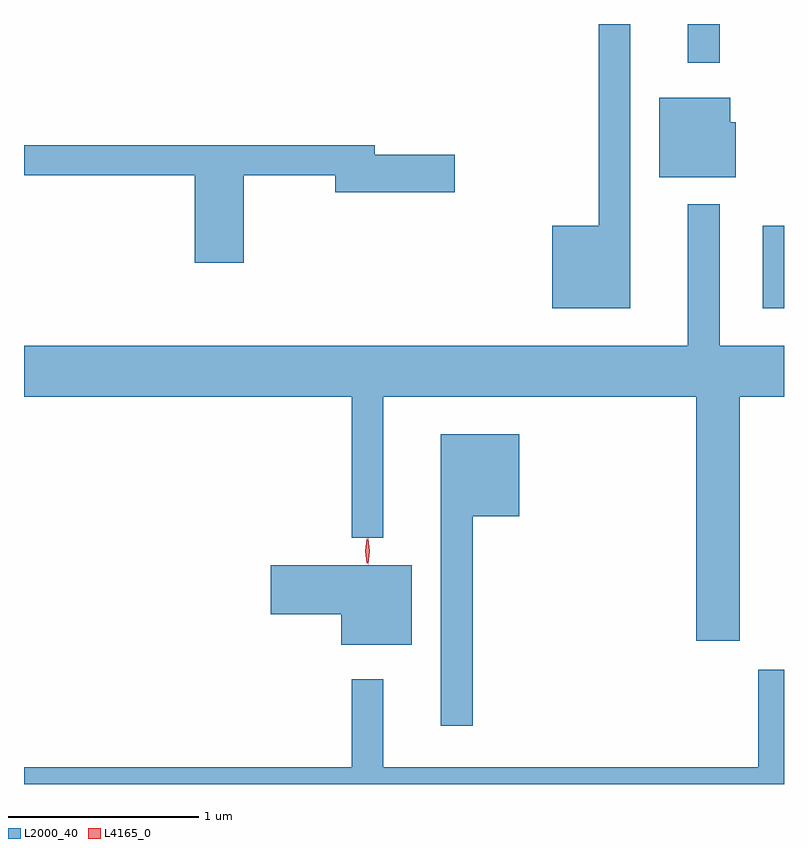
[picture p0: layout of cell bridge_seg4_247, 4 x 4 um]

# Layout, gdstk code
import gdstk
lib = gdstk.Library(unit=1e-6, precision=1e-09)
def R(c, l, rs):  # rectangles x0, y0, x1, y1
    for r in rs: c.add(gdstk.rectangle(r[:2], r[2:], *l))
def P(c, l, *ps):  # polygons
    for p in ps: c.add(gdstk.Polygon(p, *l))
L2000_40 = (2000, 40)
L4165_0 = (4165, 0)

bridge_seg4_247 = lib.new_cell('bridge_seg4_247')
R(bridge_seg4_247, L2000_40, [(728.486,1386.221,728.597,1386.654), (728.091,1387.513,728.259,1387.717)])
P(bridge_seg4_247, L2000_40, [(727.789,1387.717),(727.621,1387.717),(727.621,1386.654),(727.376,1386.654),(727.376,1386.221),(727.789,1386.221)],
  [(728.344,1387.199),(728.314,1387.199),(728.314,1387.329),(727.941,1387.329),(727.941,1386.911),(728.344,1386.911)],
  [(725.754,1386.921),(726.236,1386.921),(726.236,1386.831),(726.864,1386.831),(726.864,1387.029),(726.444,1387.029),(726.444,1387.079),(724.597,1387.079),(724.597,1386.921),(725.496,1386.921),(725.496,1386.461),(725.754,1386.461)],
  [(728.364,1385.756),(728.597,1385.756),(728.597,1386.024),(728.259,1386.024),(728.259,1386.768),(728.091,1386.768),(728.091,1386.024),(724.597,1386.024),(724.597,1385.756),(726.321,1385.756),(726.321,1385.013),(726.489,1385.013),(726.489,1385.756),(728.136,1385.756),(728.136,1384.471),(728.364,1384.471)],
  [(726.959,1385.126),(727.204,1385.126),(727.204,1385.559),(726.791,1385.559),(726.791,1384.023),(726.959,1384.023)],
  [(726.639,1384.869),(725.896,1384.869),(725.896,1384.611),(726.266,1384.611),(726.266,1384.451),(726.639,1384.451)],
  [(726.489,1384.268),(726.321,1384.268),(726.321,1383.804),(724.597,1383.804),(724.597,1383.717),(728.597,1383.717),(728.597,1384.319),(728.461,1384.319),(728.461,1383.804),(726.489,1383.804)])
P(bridge_seg4_247, L4165_0, [(726.408,1384.874),(726.399,1384.942),(726.408,1385.01),(726.408,1385.01),(726.409,1385.01),(726.418,1384.942),(726.409,1384.874),(726.409,1384.874)],
  [(726.402,1384.88),(726.393,1384.944),(726.402,1385.006),(726.403,1385.007),(726.403,1385.006),(726.413,1384.944),(726.403,1384.88),(726.403,1384.88)])

lib.write_gds('bridge_seg4_247.gds')
